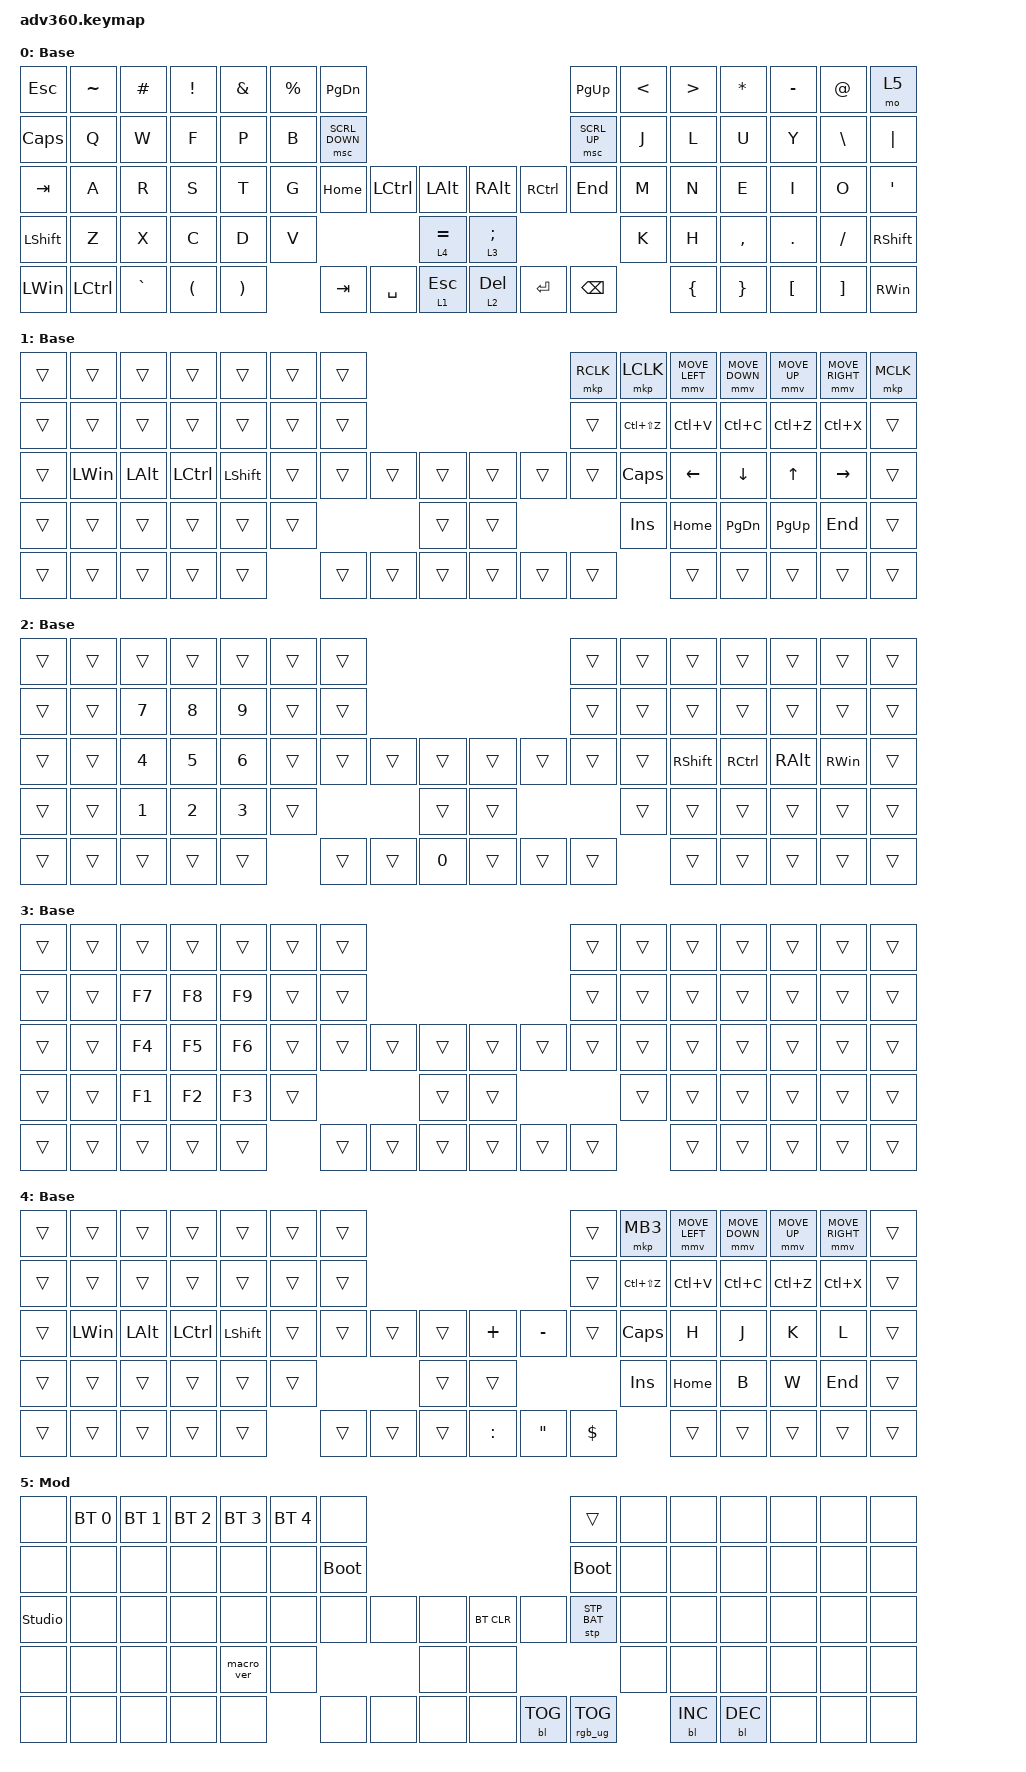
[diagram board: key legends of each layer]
#include <dt-bindings/zmk/stp.h>
#include <behaviors.dtsi>
#include <dt-bindings/zmk/backlight.h>
#include <dt-bindings/zmk/bt.h>
#include <dt-bindings/zmk/keys.h>
#include <dt-bindings/zmk/pointing.h>
#include <dt-bindings/zmk/rgb.h>

/ {
    behaviors {
        #include "macros.dtsi"
      #include "version.dtsi"

        hm: homerow_mods {
            compatible = "zmk,behavior-hold-tap";
            label = "HOMEROW_MODS";
            #binding-cells = <2>;
            tapping-term-ms = <200>;
            quick_tap_ms = <175>;
            flavor = "tap-preferred";
            bindings = <&kp>, <&kp>;
        };
    };

    keymap {
        compatible = "zmk,keymap";

        default_layer {
            display-name = "Base";
            bindings = <
&kp ESC       &kp TILDE  &kp HASH   &kp EXCLAMATION       &kp AMPERSAND          &kp PERCENT  &kp PAGE_DOWN                                                          &kp PG_UP      &kp LESS_THAN  &kp GREATER_THAN  &kp ASTRK        &kp MINUS  &kp AT         &mo 5
&kp CAPS      &kp Q      &kp W      &kp F                 &kp P                  &kp B        &msc SCRL_DOWN                                                         &msc SCRL_UP   &kp J          &kp L             &kp U            &kp Y      &kp BACKSLASH  &kp PIPE
&kp TAB       &kp A      &kp R      &kp S                 &kp T                  &kp G        &kp HOME        &kp LCTRL  &kp LALT          &kp RIGHT_ALT  &kp RCTRL  &kp END        &kp M          &kp N             &kp E            &kp I      &kp O          &kp SQT
&kp LSHFT     &kp Z      &kp X      &kp C                 &kp D                  &kp V                                   &lt 4 EQUAL       &lt 3 SEMI                               &kp K          &kp H             &kp COMMA        &kp DOT    &kp FSLH       &kp RIGHT_SHIFT
&kp LEFT_WIN  &kp LCTRL  &kp GRAVE  &kp LEFT_PARENTHESIS  &kp RIGHT_PARENTHESIS               &kp TAB         &kp SPACE  &lt 1 ESCAPE      &lt 2 DELETE   &kp ENTER  &kp BACKSPACE                 &kp LEFT_BRACE    &kp RIGHT_BRACE  &kp LBKT   &kp RBKT       &kp RIGHT_WIN
            >;
        };

        nav {
            display-name = "Base";
            bindings = <
&trans  &trans        &trans        &trans     &trans          &trans  &trans                                      &mkp RCLK  &mkp LCLK      &mmv MOVE_LEFT  &mmv MOVE_DOWN  &mmv MOVE_UP  &mmv MOVE_RIGHT  &mkp MCLK
&trans  &trans        &trans        &trans     &trans          &trans  &trans                                      &trans     &kp LC(LS(Z))  &kp LC(V)       &kp LC(C)       &kp LC(Z)     &kp LC(X)        &trans
&trans  &kp LEFT_WIN  &kp LEFT_ALT  &kp LCTRL  &kp LEFT_SHIFT  &trans  &trans  &trans  &trans      &trans  &trans  &trans     &kp CAPS       &kp LEFT        &kp DOWN        &kp UP        &kp RIGHT        &trans
&trans  &trans        &trans        &trans     &trans          &trans                  &trans      &trans                     &kp INS        &kp HOME        &kp PAGE_DOWN   &kp PAGE_UP   &kp END          &trans
&trans  &trans        &trans        &trans     &trans                  &trans  &trans  &trans      &trans  &trans  &trans                    &trans          &trans          &trans        &trans           &trans
            >;
        };

        num {
            display-name = "Base";
            bindings = <
&trans  &trans  &trans        &trans        &trans        &trans  &trans                                      &trans  &trans  &trans           &trans     &trans         &trans         &trans
&trans  &trans  &kp N7        &kp N8        &kp N9        &trans  &trans                                      &trans  &trans  &trans           &trans     &trans         &trans         &trans
&trans  &trans  &kp NUMBER_4  &kp N5        &kp NUMBER_6  &trans  &trans  &trans  &trans      &trans  &trans  &trans  &trans  &kp RIGHT_SHIFT  &kp RCTRL  &kp RIGHT_ALT  &kp RIGHT_WIN  &trans
&trans  &trans  &kp NUMBER_1  &kp NUMBER_2  &kp NUMBER_3  &trans                  &trans      &trans                  &trans  &trans           &trans     &trans         &trans         &trans
&trans  &trans  &trans        &trans        &trans                &trans  &trans  &kp N0      &trans  &trans  &trans          &trans           &trans     &trans         &trans         &trans
            >;
        };

        fun {
            display-name = "Base";
            bindings = <
&trans  &trans  &trans  &trans  &trans  &trans  &trans                                      &trans  &trans  &trans  &trans  &trans  &trans  &trans
&trans  &trans  &kp F7  &kp F8  &kp F9  &trans  &trans                                      &trans  &trans  &trans  &trans  &trans  &trans  &trans
&trans  &trans  &kp F4  &kp F5  &kp F6  &trans  &trans  &trans  &trans      &trans  &trans  &trans  &trans  &trans  &trans  &trans  &trans  &trans
&trans  &trans  &kp F1  &kp F2  &kp F3  &trans                  &trans      &trans                  &trans  &trans  &trans  &trans  &trans  &trans
&trans  &trans  &trans  &trans  &trans          &trans  &trans  &trans      &trans  &trans  &trans          &trans  &trans  &trans  &trans  &trans
            >;
        };

        nvim {
            display-name = "Base";
            bindings = <
&trans  &trans        &trans        &trans     &trans          &trans  &trans                                                    &trans      &mkp MB3       &mmv MOVE_LEFT  &mmv MOVE_DOWN  &mmv MOVE_UP  &mmv MOVE_RIGHT  &trans
&trans  &trans        &trans        &trans     &trans          &trans  &trans                                                    &trans      &kp LC(LS(Z))  &kp LC(V)       &kp LC(C)       &kp LC(Z)     &kp LC(X)        &trans
&trans  &kp LEFT_WIN  &kp LEFT_ALT  &kp LCTRL  &kp LEFT_SHIFT  &trans  &trans  &trans  &trans      &kp PLUS   &kp MINUS          &trans      &kp CAPS       &kp H           &kp J           &kp K         &kp L            &trans
&trans  &trans        &trans        &trans     &trans          &trans                  &trans      &trans                                    &kp INS        &kp HOME        &kp B           &kp W         &kp END          &trans
&trans  &trans        &trans        &trans     &trans                  &trans  &trans  &trans      &kp COLON  &kp DOUBLE_QUOTES  &kp DOLLAR                 &trans          &trans          &trans        &trans           &trans
            >;
        };

        mod {
            display-name = "Mod";
            bindings = <
&none           &bt BT_SEL 0  &bt BT_SEL 1  &bt BT_SEL 2  &bt BT_SEL 3  &bt BT_SEL 4  &none                                                  &trans           &none  &none       &none       &none  &none  &none
&none           &none         &none         &none         &none         &none         &bootloader                                            &bootloader      &none  &none       &none       &none  &none  &none
&studio_unlock  &none         &none         &none         &none         &none         &none        &none  &none      &bt BT_CLR  &none       &stp STP_BAT     &none  &none       &none       &none  &none  &none
&none           &none         &none         &none         &macro_ver    &none                             &none      &none                                    &none  &none       &none       &none  &none  &none
&none           &none         &none         &none         &none                       &none        &none  &none      &none       &bl BL_TOG  &rgb_ug RGB_TOG         &bl BL_INC  &bl BL_DEC  &none  &none  &none
            >;
        };
    };
};
